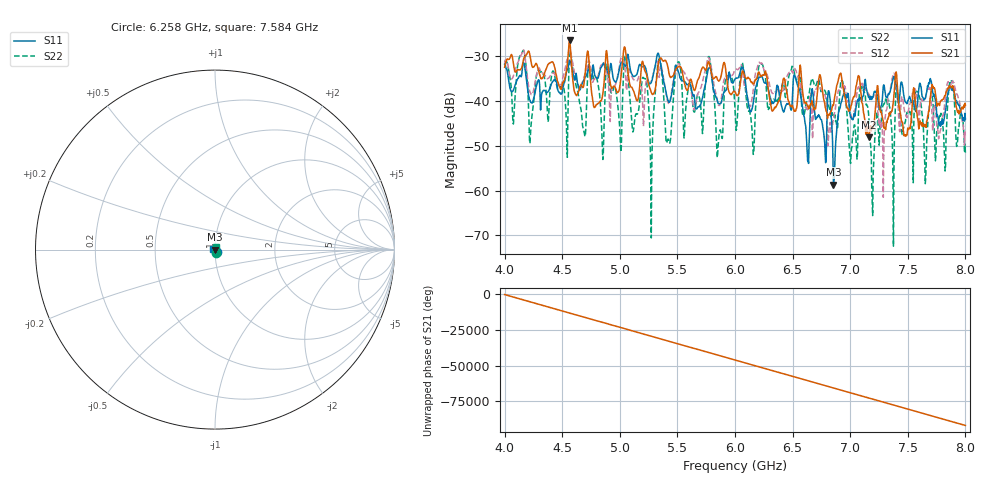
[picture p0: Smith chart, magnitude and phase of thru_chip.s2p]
# Hz  S  RI  R  50.0
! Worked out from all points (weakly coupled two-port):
!   1000 points, 4 GHz to 8 GHz, reference 50 ohm
!   highest |S21| = -26.58 dB at 4.565 GHz (marker M1); lowest = -48.1 dB at 7.159 GHz (marker M2)
!   lowest |S11| = -58.7 dB at 6.855 GHz (marker M3), VSWR 1.00, Z = 50.1 - j0.042 ohm
!   |S11| at or under -10 dB: start of sweep to end of sweep
!   |S22| runs from -72.4 to -28.7 dB; largest |S21 - S12| = 0.041
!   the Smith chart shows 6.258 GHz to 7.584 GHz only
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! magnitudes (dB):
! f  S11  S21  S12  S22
! 4 GHz  -31.8  -32.6  -31.5  -31.4
! 4.164 GHz  -31.5  -30.8  -28.6  -28.8
! 4.228 GHz  -40.4  -31.2  -38.5  -45.8
! 4.565 GHz  -31.1  -26.6  -28.7  -29.2
! 4.669 GHz  -36.5  -36.5  -36.1  -43.1
! 4.745 GHz  -34.4  -35.2  -32.2  -32.8
! 5.001 GHz  -32.4  -36.6  -31.6  -47.0
! 5.053 GHz  -32.2  -29.5  -35.9  -30.6
! 5.273 GHz  -35.9  -38.2  -35.6  -70.5
! 5.337 GHz  -29.6  -31.5  -34.1  -30.9
! 5.421 GHz  -40.1  -33.0  -40.5  -48.6
! 5.506 GHz  -33.3  -32.5  -31.6  -31.4
! 6.002 GHz  -35.1  -38.2  -33.1  -43.0
! 6.667 GHz  -37.6  -40.0  -41.8  -35.0
! 6.855 GHz  -58.7  -41.0  -44.3  -43.4
! 7.159 GHz  -39.2  -48.1  -38.5  -42.8
! 7.195 GHz  -39.3  -46.2  -39.3  -65.6
! 7.335 GHz  -38.6  -43.6  -38.4  -39.9
! 7.588 GHz  -39.5  -44.1  -41.4  -38.0
! 7.652 GHz  -39.5  -45.7  -39.5  -58.5
! 7.88 GHz  -37.6  -37.1  -36.4  -35.8
! 8 GHz  -44.0  -40.9  -48.0  -51.5
